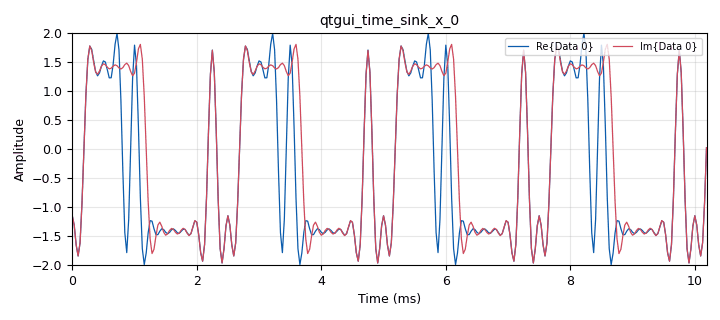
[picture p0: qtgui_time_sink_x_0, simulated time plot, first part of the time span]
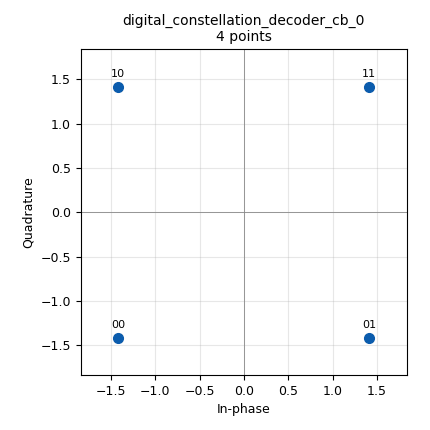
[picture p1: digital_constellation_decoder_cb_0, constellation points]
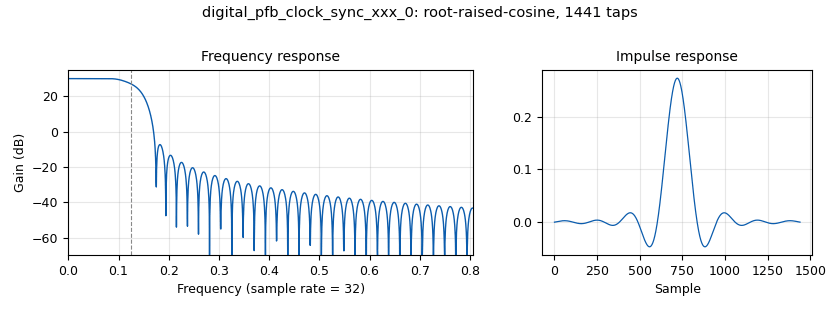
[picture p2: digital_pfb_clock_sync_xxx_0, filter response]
options:
  parameters:
    author: Pross Naoki
    generate_options: qt_gui
    id: qam_nogui
    output_language: python
    realtime_scheduling: '1'
    run_options: run
    title: QAM
  states: {}

blocks:
- name: chn_taps
  id: variable
  parameters:
    value: '[1.0 + 0.0j, ]'
  states: {}
- name: const
  id: variable_constellation
  parameters:
    precision: '8'
    type: qpsk
  states: {}
- name: eq_gain
  id: variable
  parameters:
    value: '.002'
  states: {}
- name: eq_mod
  id: variable
  parameters:
    value: '1'
  states: {}
- name: eq_ntaps
  id: variable
  parameters:
    value: '15'
  states: {}
- name: excess_bw
  id: variable
  parameters:
    value: '350e-3'
  states: {}
- name: frame
  id: fadingui_frame_obj
  parameters:
    payload_len: '32768'
    preamble: '[0xc0, 0xff, 0xee]'
  states: {}
- name: freq_offset
  id: variable
  parameters:
    value: '0'
  states: {}
- name: nfilts
  id: variable
  parameters:
    value: '32'
  states: {}
- name: noise_volt
  id: variable
  parameters:
    value: '0'
  states: {}
- name: phase_bw
  id: variable
  parameters:
    value: '0.02'
  states: {}
- name: rrc_taps
  id: variable
  parameters:
    value: firdes.root_raised_cosine(nfilts, nfilts, 1.0/float(sps), excess_bw, 45*nfilts)
  states: {}
- name: samp_rate
  id: variable
  parameters:
    value: '32000'
  states: {}
- name: sps
  id: variable
  parameters:
    value: '4'
  states: {}
- name: time_offset
  id: variable
  parameters:
    value: '1'
  states: {}
- name: timing_loop_bw
  id: variable
  parameters:
    value: 2 * 3.141592653589793 / 100
  states: {}
- name: blocks_file_sink_0
  id: blocks_file_sink
  parameters:
    file: /home/god/Documents/Fading/tests/fadingui/QAM/modulated_nodiff.dat
    type: complex
  states: {}
- name: blocks_multiply_xx_0
  id: blocks_multiply_xx
  parameters:
    type: complex
  states: {}
- name: blocks_null_sink_0
  id: blocks_null_sink
  parameters:
    type: byte
  states: {}
- name: blocks_pack_k_bits_bb_0
  id: blocks_pack_k_bits_bb
  parameters:
    k: '8'
  states: {}
- name: blocks_throttle_0
  id: blocks_throttle
  parameters:
    samples_per_second: samp_rate
    type: complex
  states: {}
- name: blocks_vector_source_x_0
  id: blocks_vector_source_x
  parameters:
    repeat: 'True'
    type: byte
    vector: '[0xc0, 0xff, 0xee, 0x00, 0x00]'
  states: {}
- name: channels_channel_model_0
  id: channels_channel_model
  parameters:
    epsilon: time_offset
    freq_offset: freq_offset
    noise_voltage: noise_volt
    seed: '0'
    taps: chn_taps
  states: {state: bypassed}
- name: digital_cma_equalizer_cc_0
  id: digital_cma_equalizer_cc
  parameters:
    modulus: eq_mod
    mu: eq_gain
    num_taps: eq_ntaps
    sps: '1'
  states: {}
- name: digital_constellation_decoder_cb_0
  id: digital_constellation_decoder_cb
  parameters:
    constellation: const
  states: {}
- name: digital_constellation_modulator_0
  id: digital_constellation_modulator
  parameters:
    constellation: const
    differential: 'False'
    excess_bw: excess_bw
    samples_per_symbol: sps
  states: {}
- name: digital_corr_est_cc_0
  id: digital_corr_est_cc
  parameters:
    sps: '1'
    threshold: '0.9'
    threshold_method: digital.THRESHOLD_ABSOLUTE
  states: {}
- name: digital_costas_loop_cc_0
  id: digital_costas_loop_cc
  parameters:
    order: '4'
    w: phase_bw
  states: {}
- name: digital_pfb_clock_sync_xxx_0
  id: digital_pfb_clock_sync_xxx
  parameters:
    filter_size: nfilts
    init_phase: nfilts/2
    loop_bw: timing_loop_bw
    max_dev: '1.5'
    osps: '1'
    sps: sps
    taps: rrc_taps
    type: ccf
  states: {}
- name: fadingui_datasource_0
  id: fadingui_datasource
  parameters:
    fname: /home/god/Documents/Fading/tests/fadingui/QAM/lena512color.tiff
    frame_obj: frame
  states: {state: disabled}
- name: fadingui_xor_frame_sync_0
  id: fadingui_xor_frame_sync
  parameters:
    buffer_size: frame.length * 5
    pattern: frame.preamble
  states: {}
- name: qtgui_time_sink_x_0
  id: qtgui_time_sink_x
  parameters:
    ctrlpanel: 'True'
    size: '1024'
    srate: samp_rate
    type: complex
    ymax: '2'
    ymin: '-2'
  states: {}

connections:
- [blocks_pack_k_bits_bb_0, '0', fadingui_xor_frame_sync_0, '0']
- [blocks_throttle_0, '0', channels_channel_model_0, '0']
- [blocks_vector_source_x_0, '0', digital_constellation_modulator_0, '0']
- [channels_channel_model_0, '0', digital_pfb_clock_sync_xxx_0, '0']
- [digital_cma_equalizer_cc_0, '0', digital_corr_est_cc_0, '0']
- [digital_cma_equalizer_cc_0, '0', digital_costas_loop_cc_0, '0']
- [digital_constellation_decoder_cb_0, '0', blocks_pack_k_bits_bb_0, '0']
- [digital_constellation_modulator_0, '0', blocks_file_sink_0, '0']
- [digital_constellation_modulator_0, '0', blocks_throttle_0, '0']
- [digital_constellation_modulator_0, '0', qtgui_time_sink_x_0, '0']
- [digital_costas_loop_cc_0, '0', digital_constellation_decoder_cb_0, '0']
- [digital_pfb_clock_sync_xxx_0, '0', digital_cma_equalizer_cc_0, '0']
- [fadingui_datasource_0, '0', digital_constellation_modulator_0, '0']
- [fadingui_xor_frame_sync_0, '0', blocks_null_sink_0, '0']

metadata:
  file_format: 1
